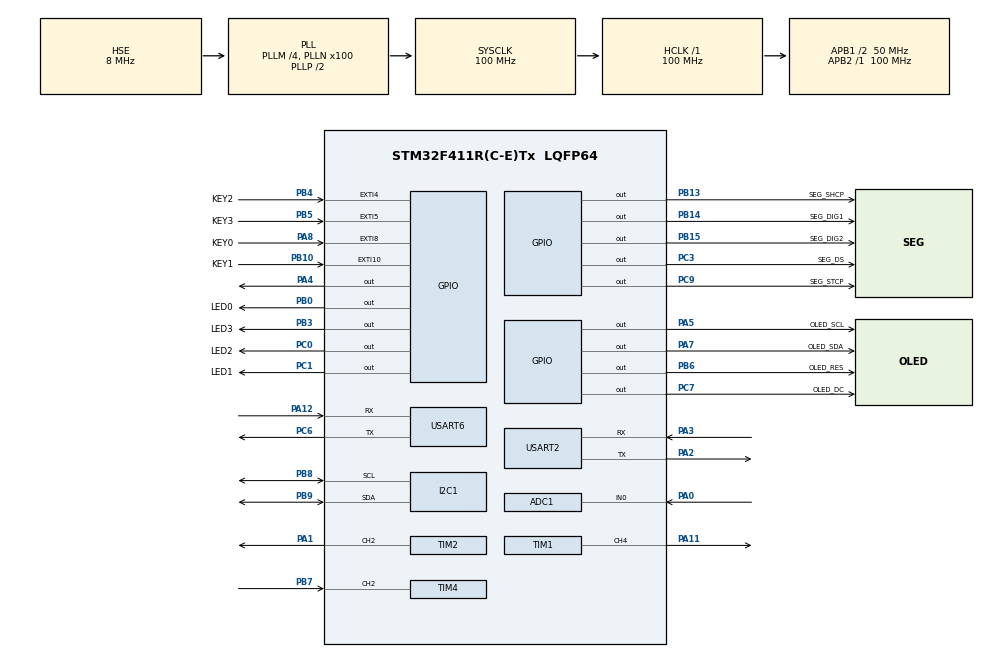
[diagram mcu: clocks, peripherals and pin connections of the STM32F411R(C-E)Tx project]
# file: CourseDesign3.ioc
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ADC1.Channel-0\#ChannelRegularConversion=ADC_CHANNEL_0
ADC1.ContinuousConvMode=ENABLE
ADC1.DMAContinuousRequests=ENABLE
ADC1.NbrOfConversionFlag=1
ADC1.Rank-0\#ChannelRegularConversion=1
ADC1.SamplingTime-0\#ChannelRegularConversion=ADC_SAMPLETIME_480CYCLES
ADC1.master=1
Dma.ADC1.0.Direction=DMA_PERIPH_TO_MEMORY
Dma.ADC1.0.FIFOMode=DMA_FIFOMODE_DISABLE
Dma.ADC1.0.Instance=DMA2_Stream0
Dma.ADC1.0.MemDataAlignment=DMA_MDATAALIGN_HALFWORD
Dma.ADC1.0.MemInc=DMA_MINC_ENABLE
Dma.ADC1.0.Mode=DMA_CIRCULAR
Dma.ADC1.0.PeriphDataAlignment=DMA_PDATAALIGN_HALFWORD
Dma.ADC1.0.PeriphInc=DMA_PINC_DISABLE
Dma.ADC1.0.Priority=DMA_PRIORITY_MEDIUM
Dma.Request0=ADC1
Dma.Request1=TIM1_CH4/TRIG/COM
Dma.TIM1_CH4/TRIG/COM.1.Direction=DMA_MEMORY_TO_PERIPH
Dma.TIM1_CH4/TRIG/COM.1.FIFOMode=DMA_FIFOMODE_DISABLE
Dma.TIM1_CH4/TRIG/COM.1.Instance=DMA2_Stream4
Dma.TIM1_CH4/TRIG/COM.1.MemDataAlignment=DMA_MDATAALIGN_HALFWORD
Dma.TIM1_CH4/TRIG/COM.1.MemInc=DMA_MINC_ENABLE
Dma.TIM1_CH4/TRIG/COM.1.Mode=DMA_NORMAL
Dma.TIM1_CH4/TRIG/COM.1.PeriphDataAlignment=DMA_PDATAALIGN_HALFWORD
Dma.TIM1_CH4/TRIG/COM.1.PeriphInc=DMA_PINC_DISABLE
Dma.TIM1_CH4/TRIG/COM.1.Priority=DMA_PRIORITY_VERY_HIGH
FREERTOS.Events01=evt_Alarm,Dynamic,NULL
FREERTOS.Mutexes01=m_I2C,Dynamic,NULL,Available
FREERTOS.Queues01=q_SensorData,4,16,1,Dynamic,NULL,NULL;q_KeyEvt,4,uint16_t,0,Dynamic,NULL,NULL;q_RGBCmd,4,16,1,Dynamic,NULL,NULL
FREERTOS.Tasks01=defaultTask,24,128,StartDefaultTask,Default,NULL,Dynamic,NULL,NULL;SensorTask,40,512,StartSensorTask,Default,NULL,Dynamic,NULL,NULL;LogicTask,24,256,StartLogicTask,Default,NULL,Dynamic,NULL,NULL;DisplayTask,8,1024,StartDisplayTask,Default,NULL,Dynamic,NULL,NULL;AlarmTask,32,256,StartAlarmTask,Default,NULL,Dynamic,NULL,NULL;KeepAlive,8,128,StartKeepAlive,Default,NULL,Dynamic,NULL,NULL;RGBTask,24,256,StartRGBTask,Default,NULL,Dynamic,NULL,NULL;BluetoothTask,24,256,StartBluetoothTask,Default,NULL,Dynamic,NULL,NULL
IWDG.Prescaler=IWDG_PRESCALER_32
Mcu.Family=STM32F4
Mcu.Name=STM32F411R(C-E)Tx
Mcu.Package=LQFP64
NVIC.DMA2_Stream0_IRQn=true\:5\:0\:false\:false\:true\:true\:false\:true\:true
NVIC.DMA2_Stream4_IRQn=true\:5\:0\:false\:false\:true\:true\:false\:true\:true
NVIC.EXTI15_10_IRQn=true\:5\:0\:false\:false\:true\:true\:true\:true\:true
NVIC.EXTI4_IRQn=true\:5\:0\:true\:false\:true\:true\:true\:true\:true
NVIC.EXTI9_5_IRQn=true\:5\:0\:true\:false\:true\:true\:true\:true\:true
NVIC.I2C1_ER_IRQn=true\:5\:0\:false\:false\:true\:true\:true\:true\:true
NVIC.I2C1_EV_IRQn=true\:5\:0\:false\:false\:true\:true\:true\:true\:true
NVIC.PriorityGroup=NVIC_PRIORITYGROUP_4
NVIC.TIM1_UP_TIM10_IRQn=true\:5\:0\:false\:false\:true\:false\:false\:true\:true
NVIC.TIM4_IRQn=true\:5\:0\:false\:false\:true\:true\:true\:true\:true
NVIC.TimeBase=TIM1_UP_TIM10_IRQn
NVIC.TimeBaseIP=TIM10
NVIC.USART6_IRQn=true\:5\:0\:false\:false\:true\:true\:true\:true\:true
PA0-WKUP.Signal=ADCx_IN0
PA1.Signal=S_TIM2_CH2
PA11.Signal=S_TIM1_CH4
PA12.Mode=Asynchronous
PA12.Signal=USART6_RX
PA13.Mode=Serial_Wire
PA13.Signal=SYS_JTMS-SWDIO
PA14.Mode=Serial_Wire
PA14.Signal=SYS_JTCK-SWCLK
PA2.Mode=Asynchronous
PA2.Signal=USART2_TX
PA3.Mode=Asynchronous
PA3.Signal=USART2_RX
PA4.Signal=GPIO_Output
PA5.GPIO_Label=OLED_SCL
PA5.Signal=GPIO_Output
PA7.GPIO_Label=OLED_SDA
PA7.Signal=GPIO_Output
PA8.GPIO_Label=KEY0
PA8.Signal=GPXTI8
PB0.GPIO_Label=LED0
PB0.Signal=GPIO_Output
PB10.GPIO_Label=KEY1
PB10.Signal=GPXTI10
PB13.GPIO_Label=SEG_SHCP
PB13.Signal=GPIO_Output
PB14.GPIO_Label=SEG_DIG1
PB14.Signal=GPIO_Output
PB15.GPIO_Label=SEG_DIG2
PB15.Signal=GPIO_Output
PB3.GPIO_Label=LED3
PB3.Signal=GPIO_Output
PB4.GPIO_Label=KEY2
PB4.Signal=GPXTI4
PB5.GPIO_Label=KEY3
PB5.Signal=GPXTI5
PB6.GPIO_Label=OLED_RES
PB6.Signal=GPIO_Output
PB7.Signal=S_TIM4_CH2
PB8.Mode=I2C
PB8.Signal=I2C1_SCL
PB9.Mode=I2C
PB9.Signal=I2C1_SDA
PC0.GPIO_Label=LED2
PC0.Signal=GPIO_Output
PC1.GPIO_Label=LED1
PC1.Signal=GPIO_Output
PC3.GPIO_Label=SEG_DS
PC3.Signal=GPIO_Output
PC6.Mode=Asynchronous
PC6.Signal=USART6_TX
PC7.GPIO_Label=OLED_DC
PC7.Signal=GPIO_Output
PC9.GPIO_Label=SEG_STCP
PC9.Signal=GPIO_Output
PH0\ -\ OSC_IN.Mode=HSE-External-Clock-Source
PH0\ -\ OSC_IN.Signal=RCC_OSC_IN
PH1\ -\ OSC_OUT.Mode=HSE-External-Clock-Source
PH1\ -\ OSC_OUT.Signal=RCC_OSC_OUT
ProjectManager.HeapSize=0x200
ProjectManager.StackSize=0x400
ProjectManager.TargetToolchain=MDK-ARM V5.32
RCC.48MHZClocksFreq_Value=50000000
RCC.AHBFreq_Value=100000000
RCC.APB1CLKDivider=RCC_HCLK_DIV2
RCC.APB1Freq_Value=50000000
RCC.APB1TimFreq_Value=100000000
RCC.APB2Freq_Value=100000000
RCC.APB2TimFreq_Value=100000000
RCC.CortexFreq_Value=100000000
RCC.HCLKFreq_Value=100000000
RCC.HSE_VALUE=8000000
RCC.HSI_VALUE=16000000
RCC.LSE_VALUE=32768
RCC.PLLM=4
RCC.PLLN=100
RCC.PLLSourceVirtual=RCC_PLLSOURCE_HSE
RCC.SYSCLKFreq_VALUE=100000000
RCC.SYSCLKSource=RCC_SYSCLKSOURCE_PLLCLK
RCC.VCOOutputFreq_Value=200000000
SH.ADCx_IN0.0=ADC1_IN0,IN0
SH.S_TIM1_CH4.0=TIM1_CH4,PWM Generation4 CH4
SH.S_TIM2_CH2.0=TIM2_CH2,PWM Generation2 CH2
SH.S_TIM4_CH2.0=TIM4_CH2,Input_Capture2_from_TI2
TIM1.AutoReloadPreload=TIM_AUTORELOAD_PRELOAD_ENABLE
TIM1.Channel-PWM\ Generation4\ CH4=TIM_CHANNEL_4
TIM1.Period=124
TIM2.Channel-PWM\ Generation2\ CH2=TIM_CHANNEL_2
TIM2.Period=1000-1
TIM2.Prescaler=100-1
TIM4.Channel-Input_Capture2_from_TI2=TIM_CHANNEL_2
TIM4.Prescaler=100-1
USART2.VirtualMode=VM_ASYNC
USART6.VirtualMode=VM_ASYNC
VP_CRC_VS_CRC.Mode=CRC_Activate
VP_FREERTOS_VS_CMSIS_V2.Mode=CMSIS_V2
VP_IWDG_VS_IWDG.Mode=IWDG_Activate
VP_SYS_VS_tim10.Mode=TIM10
VP_TIM1_VS_ClockSourceINT.Mode=Internal
board=custom

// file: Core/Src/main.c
/* USER CODE BEGIN Header */
/**
  ******************************************************************************
  * @file           : main.c
  * @brief          : Main program body
  ******************************************************************************
  * @attention
  *
  * Copyright (c) 2025 STMicroelectronics.
  * All rights reserved.
  *
  * This software is licensed under terms that can be found in the LICENSE file
  * in the root directory of this software component.
  * If no LICENSE file comes with this software, it is provided AS-IS.
  *
  ******************************************************************************
  */
/* USER CODE END Header */
#include "main.h"
#include "cmsis_os.h"
#include "adc.h"
#include "crc.h"
#include "dma.h"
#include "i2c.h"
#include "iwdg.h"
#include "tim.h"
#include "usart.h"
#include "gpio.h"

/* USER CODE BEGIN Includes */
#include "bsp_bt.h"
#include "stdio.h"
/* USER CODE END Includes */

void SystemClock_Config(void);
void MX_FREERTOS_Init(void);

int main(void)
{

  /* MCU Configuration--------------------------------------------------------*/

  /* Reset of all peripherals, Initializes the Flash interface and the Systick. */
  HAL_Init();

  /* Configure the system clock */
  SystemClock_Config();

  /* Initialize all configured peripherals */
  MX_GPIO_Init();
  MX_DMA_Init();
  MX_I2C1_Init();
  MX_USART2_UART_Init();
  MX_ADC1_Init();
  MX_IWDG_Init();
  MX_TIM2_Init();
  MX_TIM4_Init();
  MX_TIM1_Init();
  MX_USART6_UART_Init();
  MX_CRC_Init();

  /* Init scheduler */
  osKernelInitialize();  /* Call init function for freertos objects (in cmsis_os2.c) */
  MX_FREERTOS_Init();

  /* Start scheduler */
  osKernelStart();

  /* We should never get here as control is now taken by the scheduler */

  /* Infinite loop */
  while (1)
  {

  }
}

void SystemClock_Config(void)
{
  RCC_OscInitTypeDef RCC_OscInitStruct = {0};
  RCC_ClkInitTypeDef RCC_ClkInitStruct = {0};

  /** Configure the main internal regulator output voltage
  */
  __HAL_RCC_PWR_CLK_ENABLE();
  __HAL_PWR_VOLTAGESCALING_CONFIG(PWR_REGULATOR_VOLTAGE_SCALE1);

  /** Initializes the RCC Oscillators according to the specified parameters
  * in the RCC_OscInitTypeDef structure.
  */
  RCC_OscInitStruct.OscillatorType = RCC_OSCILLATORTYPE_LSI|RCC_OSCILLATORTYPE_HSE;
  RCC_OscInitStruct.HSEState = RCC_HSE_BYPASS;
  RCC_OscInitStruct.LSIState = RCC_LSI_ON;
  RCC_OscInitStruct.PLL.PLLState = RCC_PLL_ON;
  RCC_OscInitStruct.PLL.PLLSource = RCC_PLLSOURCE_HSE;
  RCC_OscInitStruct.PLL.PLLM = 4;
  RCC_OscInitStruct.PLL.PLLN = 100;
  RCC_OscInitStruct.PLL.PLLP = RCC_PLLP_DIV2;
  RCC_OscInitStruct.PLL.PLLQ = 4;
  if (HAL_RCC_OscConfig(&RCC_OscInitStruct) != HAL_OK)
  {
    Error_Handler();
  }

  /** Initializes the CPU, AHB and APB buses clocks
  */
  RCC_ClkInitStruct.ClockType = RCC_CLOCKTYPE_HCLK|RCC_CLOCKTYPE_SYSCLK
                              |RCC_CLOCKTYPE_PCLK1|RCC_CLOCKTYPE_PCLK2;
  RCC_ClkInitStruct.SYSCLKSource = RCC_SYSCLKSOURCE_PLLCLK;
  RCC_ClkInitStruct.AHBCLKDivider = RCC_SYSCLK_DIV1;
  RCC_ClkInitStruct.APB1CLKDivider = RCC_HCLK_DIV2;
  RCC_ClkInitStruct.APB2CLKDivider = RCC_HCLK_DIV1;

  if (HAL_RCC_ClockConfig(&RCC_ClkInitStruct, FLASH_LATENCY_3) != HAL_OK)
  {
    Error_Handler();
  }
}

/* USER CODE BEGIN 4 */
//int __io_putchar(int ch) {
//  HAL_UART_Transmit(&huart2, (uint8_t *)&ch, 1, HAL_MAX_DELAY);
//  return ch;
//}

//// 可选：重定向scanf
//int __io_getchar(void) {
//  uint8_t ch = 0;
//  HAL_UART_Receive(&huart2, &ch, 1, HAL_MAX_DELAY);
//  return ch;
//}

uint8_t ch;
uint8_t ch_r;
int fputc(int c, FILE * f)//重写这个函数，重定向printf函数到串口
{
ch=c;
HAL_UART_Transmit(&huart2,&ch,1,HAL_MAX_DELAY);//发送串口 return c;
}
int fgetc(FILE * F)//重定向scanf函数到串口意思就是说接受串口发过来的数据
{
HAL_UART_Receive (&huart2,&ch_r,1,HAL_MAX_DELAY);//接收_
return ch_r;
}

void HAL_UART_RxCpltCallback(UART_HandleTypeDef *huart)
{
  // 调用蓝牙模块的接收处理
  BSP_BT_RxCallback(huart);

  // 如果你有其他串口（比如 Debug 口），可以在这里加 else if
  // if (huart->Instance == USART1) { ... }
}
/* USER CODE END 4 */

void HAL_TIM_PeriodElapsedCallback(TIM_HandleTypeDef *htim)
{
  if (htim->Instance == TIM10)
  {
    HAL_IncTick();
  }
}

void Error_Handler(void)
{
  __disable_irq();
  while (1)
  {
  }
}

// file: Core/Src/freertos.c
/* USER CODE BEGIN Header */
/**
  ******************************************************************************
  * File Name          : freertos.c
  * Description        : Code for freertos applications
  ******************************************************************************
  * @attention
  *
  * Copyright (c) 2025 STMicroelectronics.
  * All rights reserved.
  *
  * This software is licensed under terms that can be found in the LICENSE file
  * in the root directory of this software component.
  * If no LICENSE file comes with this software, it is provided AS-IS.
  *
  ******************************************************************************
  */
/* USER CODE END Header */

#include "FreeRTOS.h"
#include "task.h"
#include "main.h"
#include "cmsis_os.h"

/* USER CODE BEGIN Includes */
/* --- Standard Libraries --- */
#include "stdio.h"
#include <stdbool.h>

/* --- Hardware Drivers (BSP) --- */
#include "iwdg.h"
#include "bsp_oled.h"
#include "bsp_seg.h"
#include "bsp_lm75.h"
#include "bsp_adc.h"
#include "bsp_buzzer.h"
#include "bsp_freq.h"
#include "bsp_rgb.h"
#include "bsp_key.h"
#include "bsp_bt.h"
#include "bsp_flash_crc.h"

/* --- Application Types --- */
#include "app_types.h"
/* USER CODE END Includes */

/* USER CODE BEGIN PD */
/* --- 报警标志位定义 --- */
#define ALARM_TEMP_HIGH   (1 << 0)  // 温度过高
#define ALARM_VOLT_HIGH   (1 << 1)  // 电压过高

/* --- RGB 呼吸灯参数配置 --- */
// 1. 最大亮度 (0-255): 降低此值可避免太刺眼
#define RGB_BREATH_MAX_BRIGHTNESS  30

// 2. 呼吸步长: 越大呼吸越急促
#define RGB_BREATH_STEP            1

// 3. 呼吸刷新周期 (ms): 建议 20-50ms，保证动画流畅
#define RGB_BREATH_REFRESH_MS      40

/* --- RGB 报警闪烁配置 --- */
// 4. 闪烁周期 (ms): 100ms亮 -> 100ms灭 (5Hz)
#define RGB_BLINK_PERIOD_MS        100

#define BUZZER_ALARM_SOUND    2
/* USER CODE END PD */

/* USER CODE BEGIN Variables */
/* --- 全局共享数据 (公告板) --- */
// SensorTask 负责写，LogicTask/DisplayTask 负责读
SensorData_t g_LatestSensorData = {0};

/* --- 全局控制标志 --- */
// 显示模式: 1=详细模式(默认), 2=大字体模式
volatile uint8_t g_DisplayPage = 1; // <--- 修改此处：初始化为 1

// 报警温度阈值 (LogicTask更新, DisplayTask读取)
volatile float g_AlarmThreshold = 30.0f;
/* USER CODE END Variables */
/* Definitions for defaultTask */
osThreadId_t defaultTaskHandle;
const osThreadAttr_t defaultTask_attributes = {
  .name = "defaultTask",
  .stack_size = 128 * 4,
  .priority = (osPriority_t) osPriorityNormal,
};
/* Definitions for SensorTask */
osThreadId_t SensorTaskHandle;
const osThreadAttr_t SensorTask_attributes = {
  .name = "SensorTask",
  .stack_size = 512 * 4,
  .priority = (osPriority_t) osPriorityHigh,
};
/* Definitions for LogicTask */
osThreadId_t LogicTaskHandle;
const osThreadAttr_t LogicTask_attributes = {
  .name = "LogicTask",
  .stack_size = 256 * 4,
  .priority = (osPriority_t) osPriorityNormal,
};
/* Definitions for DisplayTask */
osThreadId_t DisplayTaskHandle;
const osThreadAttr_t DisplayTask_attributes = {
  .name = "DisplayTask",
  .stack_size = 1024 * 4,
  .priority = (osPriority_t) osPriorityLow,
};
/* Definitions for AlarmTask */
osThreadId_t AlarmTaskHandle;
const osThreadAttr_t AlarmTask_attributes = {
  .name = "AlarmTask",
  .stack_size = 256 * 4,
  .priority = (osPriority_t) osPriorityAboveNormal,
};
/* Definitions for KeepAlive */
osThreadId_t KeepAliveHandle;
const osThreadAttr_t KeepAlive_attributes = {
  .name = "KeepAlive",
  .stack_size = 128 * 4,
  .priority = (osPriority_t) osPriorityLow,
};
/* Definitions for RGBTask */
osThreadId_t RGBTaskHandle;
const osThreadAttr_t RGBTask_attributes = {
  .name = "RGBTask",
  .stack_size = 256 * 4,
  .priority = (osPriority_t) osPriorityNormal,
};
/* Definitions for BluetoothTask */
osThreadId_t BluetoothTaskHandle;
const osThreadAttr_t BluetoothTask_attributes = {
  .name = "BluetoothTask",
  .stack_size = 256 * 4,
  .priority = (osPriority_t) osPriorityNormal,
};
/* Definitions for q_SensorData */
osMessageQueueId_t q_SensorDataHandle;
const osMessageQueueAttr_t q_SensorData_attributes = {
  .name = "q_SensorData"
};
/* Definitions for q_KeyEvt */
osMessageQueueId_t q_KeyEvtHandle;
const osMessageQueueAttr_t q_KeyEvt_attributes = {
  .name = "q_KeyEvt"
};
/* Definitions for q_RGBCmd */
osMessageQueueId_t q_RGBCmdHandle;
const osMessageQueueAttr_t q_RGBCmd_attributes = {
  .name = "q_RGBCmd"
};
/* Definitions for m_I2C */
osMutexId_t m_I2CHandle;
const osMutexAttr_t m_I2C_attributes = {
  .name = "m_I2C"
};
/* Definitions for evt_Alarm */
osEventFlagsId_t evt_AlarmHandle;
const osEventFlagsAttr_t evt_Alarm_attributes = {
  .name = "evt_Alarm"
};

void StartDefaultTask(void *argument);
void StartSensorTask(void *argument);
void StartLogicTask(void *argument);
void StartDisplayTask(void *argument);
void StartAlarmTask(void *argument);
void StartKeepAlive(void *argument);
void StartRGBTask(void *argument);
void StartBluetoothTask(void *argument);

void MX_FREERTOS_Init(void); /* (MISRA C 2004 rule 8.1) */

void MX_FREERTOS_Init(void) {
  /* Create the mutex(es) */
  /* creation of m_I2C */
  m_I2CHandle = osMutexNew(&m_I2C_attributes);

  /* Create the queue(s) */
  /* creation of q_SensorData */
  q_SensorDataHandle = osMessageQueueNew (4, 16, &q_SensorData_attributes);

  /* creation of q_KeyEvt */
  q_KeyEvtHandle = osMessageQueueNew (4, sizeof(uint16_t), &q_KeyEvt_attributes);

  /* creation of q_RGBCmd */
  q_RGBCmdHandle = osMessageQueueNew (4, 16, &q_RGBCmd_attributes);

  /* Create the thread(s) */
  /* creation of defaultTask */
  defaultTaskHandle = osThreadNew(StartDefaultTask, NULL, &defaultTask_attributes);

  /* creation of SensorTask */
  SensorTaskHandle = osThreadNew(StartSensorTask, NULL, &SensorTask_attributes);

  /* creation of LogicTask */
  LogicTaskHandle = osThreadNew(StartLogicTask, NULL, &LogicTask_attributes);

  /* creation of DisplayTask */
  DisplayTaskHandle = osThreadNew(StartDisplayTask, NULL, &DisplayTask_attributes);

  /* creation of AlarmTask */
  AlarmTaskHandle = osThreadNew(StartAlarmTask, NULL, &AlarmTask_attributes);

  /* creation of KeepAlive */
  KeepAliveHandle = osThreadNew(StartKeepAlive, NULL, &KeepAlive_attributes);

  /* creation of RGBTask */
  RGBTaskHandle = osThreadNew(StartRGBTask, NULL, &RGBTask_attributes);

  /* creation of BluetoothTask */
  BluetoothTaskHandle = osThreadNew(StartBluetoothTask, NULL, &BluetoothTask_attributes);

  /* creation of evt_Alarm */
  evt_AlarmHandle = osEventFlagsNew(&evt_Alarm_attributes);

}

void StartDefaultTask(void *argument)
{
  /* USER CODE BEGIN StartDefaultTask */
  /* --- 1. 系统基础初始化 --- */
  OLED_Init();
  OLED_Clear();
  OLED_Refresh();

  printf("System Starting...\r\n");

  /* --- 2. 传感器初始化 --- */
  // 2.1 LM75 (I2C)
  if (BSP_LM75_Init() == 0) {
    printf("[OK] LM75 Init\r\n");
  } else {
    printf("[ERR] LM75 Init Failed\r\n");
  }

  // 2.2 ADC (DMA)
  BSP_ADC_Init();
  printf("[OK] ADC DMA Started\r\n");

  // 2.3 频率测量 (IC)
  BSP_Freq_Init();
  printf("[OK] TIM4 Freq Input Capture Started\r\n");

  /* --- 3. 外设初始化 --- */
  BSP_RGB_Init();
  printf("[OK] RGB Init\r\n");

  printf("System Startup Success!\r\n");

  /* --- 4. 心跳循环 --- */
  for(;;)
  {
    static uint32_t count = 0;

    // 数码管扫描 (如果是动态扫描，需要高频调用)
    BSP_LEDSEG_ShowNum(0, g_DisplayPage);

    // 心跳灯 LED3
    if (count == 200) // 约 1000ms 翻转一次 (5ms * 200)
    {
      HAL_GPIO_TogglePin(LED3_GPIO_Port, LED3_Pin);
      count = 0;
    }
    count++;
    osDelay(5);
  }
  /* USER CODE END StartDefaultTask */
}

void StartSensorTask(void *argument)
{
  /* USER CODE BEGIN StartSensorTask */
  SensorData_t current_data;

  /* Infinite loop */
  for(;;)
  {
    /* --- 1. 获取数据 (Acquire) --- */

    // LM75: 使用互斥锁保护 I2C 总线
    osMutexAcquire(m_I2CHandle, osWaitForever);
    current_data.temp_celsius = BSP_LM75_ReadTemp();
    osMutexRelease(m_I2CHandle);

    // ADC: 读取光敏/电位器数据
    current_data.adc_raw = BSP_ADC_GetRaw();

    // Freq: 读取 555 频率
    current_data.freq_hz = BSP_Freq_Get();

    /* --- 2. 更新全局副本 (Publish) --- */
    // 供 LogicTask 或 BluetoothTask 随时读取最新状态
    g_LatestSensorData = current_data;

    /* --- 3. 发送数据队列 (Send Queue) --- */
    // 将数据发送给 DisplayTask 进行显示 (非阻塞)
    osMessageQueuePut(q_SensorDataHandle, &current_data, 0, 0);

    /* --- 4. 调试输出 (Optional) --- */
    // printf("[Sensor] T:%.1f, ADC:%d, F:%lu\r\n",
    //        current_data.temp_celsius, current_data.adc_raw, current_data.freq_hz);

    /* --- 5. 采样周期控制 --- */
    osDelay(1000); // 1Hz 采样率
  }
  /* USER CODE END StartSensorTask */
}

void StartLogicTask(void *argument)
{
  /* USER CODE BEGIN StartLogicTask */
  uint16_t key_event = 0;
  bool is_muted = false;        // 静音标志位
  bool alarm_condition = false; // 报警总状态
  bool last_alarm_status = false; // 历史状态用于检测边沿

  SystemSettings_t sys_settings;

  /* --- 1. 读取 Flash 配置 --- */
  printf("[Logic] Reading Settings...\r\n");
  if (BSP_Settings_Read(&sys_settings) == 0) {
    printf("[Logic] Read OK. Threshold: %.1f C\r\n", sys_settings.temp_threshold);
  } else {
    printf("[Logic] Read Fail. Loading Defaults.\r\n");
    sys_settings.temp_threshold = 30.0f;
    BSP_Settings_Save(&sys_settings);
  }
  // 同步全局阈值
  g_AlarmThreshold = sys_settings.temp_threshold;

  // 上电默认效果
  BSP_RGB_SendCmd(RGB_MODE_BREATHING, 0, 255, 0, 0); // 绿色呼吸

  /* Infinite loop */
  for(;;)
  {
    /* ==========================================
     * 1. 处理按键事件 (Event Processing)
     * ========================================== */
    if (osMessageQueueGet(q_KeyEvtHandle, &key_event, NULL, 0) == osOK)
    {
        switch (key_event)
        {
          case KEY_0: // 消音
            printf("[Logic] Key0 -> Mute Alarm\r\n");
            is_muted = true;
            break;

          case KEY_1: // 切换界面
            printf("[Logic] Key1 -> Switch Page\r\n");
          // <--- 修改开始: 1和2之间循环切换 --->
          if (g_DisplayPage == 1) {
            g_DisplayPage = 2;
          } else {
            g_DisplayPage = 1;
          }
            // 切换时刷新一次屏幕防止残影 (可选，交给 DisplayTask 亦可)
            OLED_Clear();
            OLED_Refresh();
            break;

          case KEY_2: // 阈值 -1
            sys_settings.temp_threshold -= 1.0f;
            g_AlarmThreshold = sys_settings.temp_threshold;
            printf("[Logic] Key2 -> Thres -1: %.1f\r\n", sys_settings.temp_threshold);
            BSP_Settings_Save(&sys_settings);
            break;

          case KEY_3: // 阈值 +1
            sys_settings.temp_threshold += 1.0f;
            g_AlarmThreshold = sys_settings.temp_threshold;
            printf("[Logic] Key3 -> Thres +1: %.1f\r\n", sys_settings.temp_threshold);
            BSP_Settings_Save(&sys_settings);
            break;
        }
    }

    /* ==========================================
     * 2. 检查报警条件 (Alarm Check)
     * ========================================== */
    bool temp_high = (g_LatestSensorData.temp_celsius > sys_settings.temp_threshold);
    bool volt_high = (g_LatestSensorData.adc_raw > 1861); // > ~1.5V

    alarm_condition = temp_high | volt_high;

    /* ==========================================
     * 3. RGB 状态机控制 (State Machine)
     * ========================================== */
    // 仅在状态跳变时发送指令，避免堵塞队列
    if (alarm_condition != last_alarm_status)
    {
      if (alarm_condition) {
        printf("[Logic] ALARM! RGB -> Red Blink\r\n");
        BSP_RGB_SendCmd(RGB_MODE_BLINK, 30, 0, 0, 0);
      } else {
        printf("[Logic] Normal. RGB -> Green Breath\r\n");
        BSP_RGB_SendCmd(RGB_MODE_BREATHING, 0, 255, 0, 0);
      }
      last_alarm_status = alarm_condition;
    }

    /* ==========================================
     * 4. 蜂鸣器控制 (Buzzer Control)
     * ========================================== */
    if (alarm_condition)
    {
        if (is_muted) {
            // 静音状态：清除标志，停止蜂鸣器
            osEventFlagsClear(evt_AlarmHandle, ALARM_TEMP_HIGH | ALARM_VOLT_HIGH);
        } else {
            // 设置对应的报警标志，触发 AlarmTask
            if (temp_high) osEventFlagsSet(evt_AlarmHandle, ALARM_TEMP_HIGH);
            if (volt_high) osEventFlagsSet(evt_AlarmHandle, ALARM_VOLT_HIGH);
        }
    }
    else
    {
        // 恢复正常：清除所有标志
        osEventFlagsClear(evt_AlarmHandle, ALARM_TEMP_HIGH | ALARM_VOLT_HIGH);
        // 如果之前静音了，恢复正常后取消静音，以便下次报警能响
        if (is_muted) is_muted = false;
    }

    osDelay(100); // 逻辑处理周期
  }
  /* USER CODE END StartLogicTask */
}

void StartDisplayTask(void *argument)
{
  /* USER CODE BEGIN StartDisplayTask */
  SensorData_t recv_data;
  char str_buf[32];

  /* Infinite loop */
  for(;;)
  {
    // 等待数据更新
    if (osMessageQueueGet(q_SensorDataHandle, &recv_data, NULL, 0) == osOK)
    {
      if (g_DisplayPage == 2)
      {
        /* --- Page 2: 详细模式 --- */

        // 1. Temp
        sprintf(str_buf, "T: %.1f C   ", recv_data.temp_celsius);
        OLED_ShowString(0, 0, (uint8_t *)str_buf, 16, 1);

        // 2. Voltage (Conversion: Raw * 3.3 / 4095)
        float voltage = recv_data.adc_raw * 3.3f / 4095.0f;
        sprintf(str_buf, "V: %.2f V   ", voltage);
        OLED_ShowString(0, 16, (uint8_t *)str_buf, 16, 1);

        // 3. Frequency (Auto unit kHZ/Hz)
        if(recv_data.freq_hz < 10000)
          sprintf(str_buf, "F: %lu Hz   ", recv_data.freq_hz);
        else
          sprintf(str_buf, "F: %.1f kHz ", recv_data.freq_hz / 1000.0f);
        OLED_ShowString(0, 32, (uint8_t *)str_buf, 16, 1);
      }
      else
      {
        /* --- Page 1: 简略模式 --- */
        OLED_ShowString(18, 0, "Temp Monitor", 16, 1);

        // 大字体温度显示
        sprintf(str_buf, "%.1f C", recv_data.temp_celsius);
        OLED_ShowString(32, 18, (uint8_t *)str_buf, 24, 1);
      }

      /* --- 状态栏 (Common) --- */
      sprintf(str_buf, "Set: %.1f C   ", g_AlarmThreshold);
      OLED_ShowString(0, 48, (uint8_t *)str_buf, 12, 1);

      OLED_Refresh();
    }

    osDelay(100); // 刷新率限制
  }
  /* USER CODE END StartDisplayTask */
}

void StartAlarmTask(void *argument)
{
  /* USER CODE BEGIN StartAlarmTask */
  uint32_t flags;

  BSP_Buzzer_Off();

  /* Infinite loop */
  for(;;)
  {
    // 等待报警事件标志 (阻塞等待)
    flags = osEventFlagsWait(evt_AlarmHandle,
                             ALARM_TEMP_HIGH | ALARM_VOLT_HIGH,
                             osFlagsWaitAny | osFlagsNoClear, // 不自动清除，由 LogicTask 清除
                             100);

    // 检查是否有有效标志
    if (flags > 0 && flags != osFlagsErrorTimeout)
    {
      /* === 报警鸣叫逻辑 === */

      // 1. 开始鸣叫 (Sound On)
      if (flags & ALARM_TEMP_HIGH) {
        BSP_Buzzer_SetTone(2000, BUZZER_ALARM_SOUND); // 高温: 急促高音
      } else {
        BSP_Buzzer_SetTone(1000, BUZZER_ALARM_SOUND); // 电压: 低沉声音
      }
      osDelay(100);

      // 2. 停止鸣叫 (Sound Off) - 制造滴滴声
      BSP_Buzzer_Off();
      osDelay(100);
    }
    else
    {
      /* === 无报警 === */
      BSP_Buzzer_Off();
      // 此处利用 osEventFlagsWait 的超时机制自动循环，无需额外 Delay
    }
  }
  /* USER CODE END StartAlarmTask */
}

void StartKeepAlive(void *argument)
{
  /* USER CODE BEGIN StartKeepAlive */
  /* Infinite loop */
  for(;;)
  {
    // 喂狗
    HAL_IWDG_Refresh(&hiwdg);
    osDelay(1000);
  }
  /* USER CODE END StartKeepAlive */
}

void StartRGBTask(void *argument)
{
  /* USER CODE BEGIN StartRGBTask */
  BSP_RGB_Init();

  // 当前执行的指令
  RGBCmd_t current_cmd = { .mode = RGB_MODE_BREATHING, .G = 255 };

  // 动画状态变量
  int16_t breath_val = 0;              // 当前呼吸亮度级
  int8_t  breath_dir = RGB_BREATH_STEP; // 呼吸方向 (+1/-1)
  uint8_t blink_state = 0;             // 闪烁状态 (0/1)

  for(;;)
  {
    RGBCmd_t new_cmd;

    /* --- 1. 接收新指令 --- */
    if (osMessageQueueGet(q_RGBCmdHandle, &new_cmd, NULL, 0) == osOK)
    {
       current_cmd = new_cmd;
       // 重置动画状态，确保切换平滑
       breath_val = 0;
       blink_state = 0;
       breath_dir = RGB_BREATH_STEP;

       // 切换瞬间清空一次
       BSP_RGB_Set(0, 0, 0, 0);
       BSP_RGB_Show();
    }

    /* --- 2. 执行模式逻辑 --- */
    switch (current_cmd.mode)
    {
      case RGB_MODE_OFF:
        BSP_RGB_Set(0, 0, 0, 0);
        BSP_RGB_Show();
        osDelay(100);
        break;

      case RGB_MODE_STATIC:
        BSP_RGB_Set(0, current_cmd.R, current_cmd.G, current_cmd.B);
        BSP_RGB_Show();
        osDelay(100);
        break;

      case RGB_MODE_BREATHING:
        /* --- 呼吸算法 --- */
        breath_val += breath_dir;

        // 边界检查：反转方向
        if (breath_val >= RGB_BREATH_MAX_BRIGHTNESS) {
            breath_val = RGB_BREATH_MAX_BRIGHTNESS;
            breath_dir = -RGB_BREATH_STEP; // 变暗
        } else if (breath_val <= 0) {
            breath_val = 0;
            breath_dir = RGB_BREATH_STEP;  // 变亮
        }

        // 颜色缩放计算: 目标颜色 * (当前呼吸级 / 255)
        // 注意：这里使用 uint16_t 避免乘法溢出
        uint8_t r = (uint16_t)current_cmd.R * breath_val / 255;
        uint8_t g = (uint16_t)current_cmd.G * breath_val / 255;
        uint8_t b = (uint16_t)current_cmd.B * breath_val / 255;

        BSP_RGB_Set(0, r, g, b);
        BSP_RGB_Show();
        osDelay(RGB_BREATH_REFRESH_MS);
        break;

      case RGB_MODE_BLINK:
        /* --- 闪烁算法 --- */
        if (blink_state == 0) {
            BSP_RGB_Set(0, current_cmd.R, current_cmd.G, current_cmd.B);
            blink_state = 1;
        } else {
            BSP_RGB_Set(0, 0, 0, 0);
            blink_state = 0;
        }
        BSP_RGB_Show();
        osDelay(RGB_BLINK_PERIOD_MS);
        break;

      default:
        osDelay(100);
        break;
    }
  }
  /* USER CODE END StartRGBTask */
}

void StartBluetoothTask(void *argument)
{
  /* USER CODE BEGIN StartBluetoothTask */
  BSP_BT_Init();

  /* Infinite loop */
  for(;;)
  {
    // 处理蓝牙接收和发送数据 (传入全局 Sensor 数据指针)
    BSP_BT_ProcessTask(&g_LatestSensorData);
  }
  /* USER CODE END StartBluetoothTask */
}
